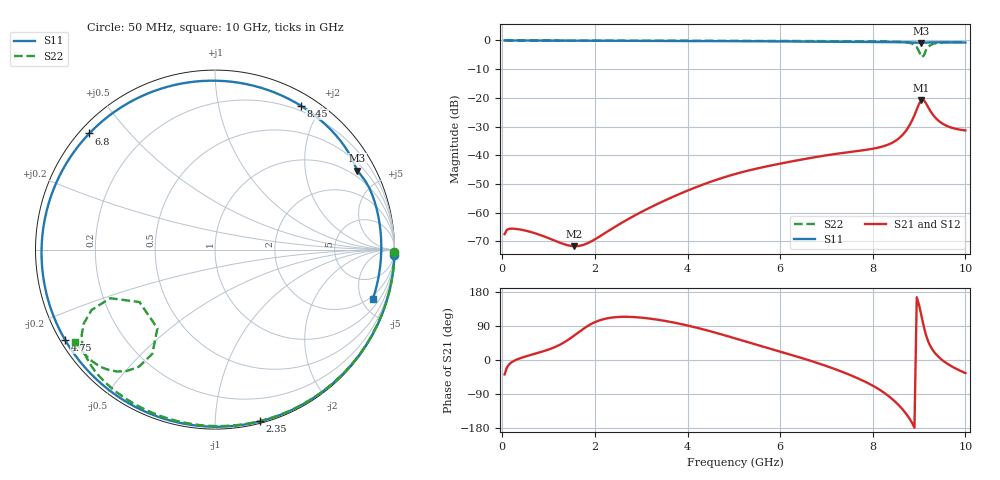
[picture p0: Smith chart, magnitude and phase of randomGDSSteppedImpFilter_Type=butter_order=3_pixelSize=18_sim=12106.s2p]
! freq	dB(S11)	phase(S11)	dB(S12)	phase(S12)
!  dB(S21)	phase(S21)	dB(S22)	phase(S22)
!S-par simulation data
#  GHz  S  DB  R 50
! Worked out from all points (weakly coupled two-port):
!   200 points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, 50 MHz to 10 GHz, reference 50 ohm
!   highest |S21| = -20.76 dB at 9.05 GHz (marker M1); lowest = -71.7 dB at 1.55 GHz (marker M2)
!   lowest |S11| = -0.8 dB at 9.05 GHz (marker M3), VSWR 20.70, Z = 37.2 + j186 ohm
!   |S11| at or under -10 dB: nowhere
!   |S22| runs from -5.8 to 0.0 dB; largest |S21 - S12| = 0
!   S11 on the Smith chart (normalised r, x): 50 MHz: 0, -70; 2.35 GHz: 0.01, -1.30; 4.75 GHz: 0.01, -0.28; 6.8 GHz: 0.03, +0.39; 8.45 GHz: 0.14, +1.76; 10 GHz: 1.69, -6.14
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0.05  -0.00 -1.6  -67.50 -38.1  -67.50 -38.1  -0.00 -0.9
0.15  -0.00 -4.9  -65.65 -11.2  -65.65 -11.2  -0.00 -2.6
0.4  -0.01 -13.2  -65.93 5.3  -65.93 5.3  -0.00 -7.0
1.55  -0.06 -50.2  -71.69 64.3  -71.69 64.3  -0.03 -26.7
1.75  -0.07 -56.5  -71.23 82.3  -71.23 82.3  -0.04 -30.1
2.35  -0.10 -75.2  -65.79 111.7  -65.79 111.7  -0.05 -40.1
3.4  -0.14 -107.3  -56.59 105.5  -56.59 105.5  -0.08 -57.1
4.75  -0.22 -149.0  -47.89 67.0  -47.89 67.0  -0.12 -78.1
5.05  -0.24 -158.6  -46.45 56.3  -46.45 56.3  -0.13 -82.6
5.9  -0.32 172.2  -43.25 25.6  -43.25 25.6  -0.16 -95.1
6.7  -0.40 141.4  -40.82 -3.7  -40.82 -3.7  -0.21 -106.7
6.8  -0.41 137.3  -40.54 -7.7  -40.54 -7.7  -0.22 -108.2
7.65  -0.51 99.1  -38.57 -46.9  -38.57 -46.9  -0.28 -120.6
8.35  -0.58 64.3  -36.18 -95.9  -36.18 -95.9  -0.39 -132.3
8.45  -0.60 59.1  -35.38 -106.2  -35.38 -106.2  -0.43 -134.3
8.7  -0.64 46.1  -31.83 -138.7  -31.83 -138.7  -0.63 -140.9
8.9  -0.73 35.8  -26.04 -178.7  -26.04 -178.7  -1.52 -150.6
9.05  -0.84 29.0  -20.76 117.8  -20.76 117.8  -5.81 -145.2
9.1  -0.79 27.0  -20.79 89.2  -20.79 89.2  -5.30 -126.2
9.25  -0.65 19.2  -24.74 35.2  -24.74 35.2  -1.55 -126.0
9.55  -0.65 4.0  -29.39 -4.8  -29.39 -4.8  -0.69 -137.5
10  -0.71 -17.2  -31.35 -34.4  -31.35 -34.4  -0.59 -146.6
